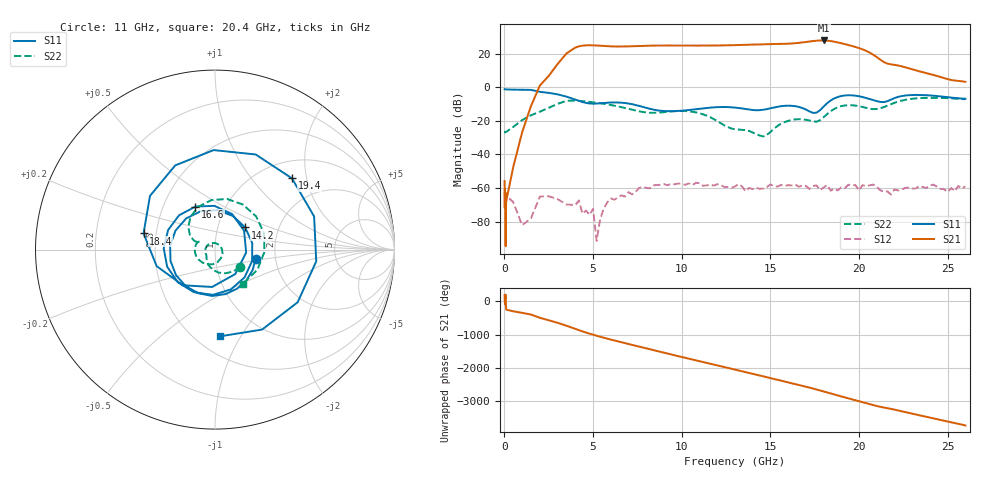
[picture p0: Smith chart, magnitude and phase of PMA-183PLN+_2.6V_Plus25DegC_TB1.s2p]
!Keysight Technologies,N5244A,MY52442000,A.10.40.14
!Date: Tuesday, July 07, 2020 10:56:57
!Correction: S11(Full 2 Port(1,2))
!S21(Full 2 Port(1,2))
!S12(Full 2 Port(1,2))
!S22(Full 2 Port(1,2))
!S2P File: Measurements: S11, S21, S12, S22:
# Hz S  dB  R 50
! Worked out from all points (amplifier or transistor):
!   128 points, 10 MHz to 26 GHz, reference 50 ohm
!   highest |S21| = 28.0 dB at 18 GHz (marker M1)
!   |S21| within 3 dB of that: 11.97 GHz to 19.5 GHz (7.534 GHz wide, 47.9 % of centre)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
!   unconditionally stable (mu >= 1): start of sweep to end of sweep
!   at 4.8 GHz: K = 132.49, MAG = 26.3 dB, |S12| = -76.0 dB
!   at 13.4 GHz: K = 22.59, MAG = 25.7 dB, |S12| = -59.0 dB
!   at 26 GHz: K = 191.10, MAG = 5.3 dB, |S12| = -59.0 dB
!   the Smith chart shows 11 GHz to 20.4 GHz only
!   S11 on the Smith chart (normalised r, x): 11 GHz: 1.57, -0.17; 14.2 GHz: 1.35, +0.35; 16.6 GHz: 0.72, +0.37; 18.4 GHz: 0.42, +0.09; 19.4 GHz: 1.36, +1.64; 20.4 GHz: 0.65, -0.82
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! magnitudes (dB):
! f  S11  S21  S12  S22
! 10 MHz  -1.0  -55.8  -62.0  -26.6
! 20 MHz  -1.1  -71.8  -67.1  -26.5
! 30 MHz  -1.1  -60.5  -72.7  -26.9
! 60 MHz  -1.1  -62.8  -63.2  -26.6
! 70 MHz  -1.1  -94.7  -64.3  -26.6
! 80 MHz  -1.2  -64.1  -79.1  -26.6
! 100 MHz  -1.2  -67.9  -64.4  -26.5
! 1 GHz  -1.4  -26.7  -82.2  -19.5
! 2 GHz  -2.6  1.2  -65.1  -14.4
! 4.4 GHz  -8.7  24.9  -75.3  -8.2
! 8.8 GHz  -13.9  25.0  -58.1  -15.0
! 11 GHz  -12.7  25.0  -57.1  -15.4
! 13.2 GHz  -12.2  25.3  -57.7  -25.1
! 14.2 GHz  -13.6  25.7  -60.0  -27.8
! 16.6 GHz  -11.6  26.6  -59.2  -18.9
! 17.4 GHz  -15.2  27.7  -58.8  -20.2
! 18 GHz  -11.5  28.0  -59.8  -17.8
! 18.4 GHz  -7.8  27.7  -61.6  -14.2
! 19.4 GHz  -4.7  25.3  -58.1  -10.6
! 20.4 GHz  -6.3  21.8  -59.0  -12.2
! 21.8 GHz  -7.3  13.8  -63.9  -10.0
! 26 GHz  -6.7  3.3  -59.0  -7.0
